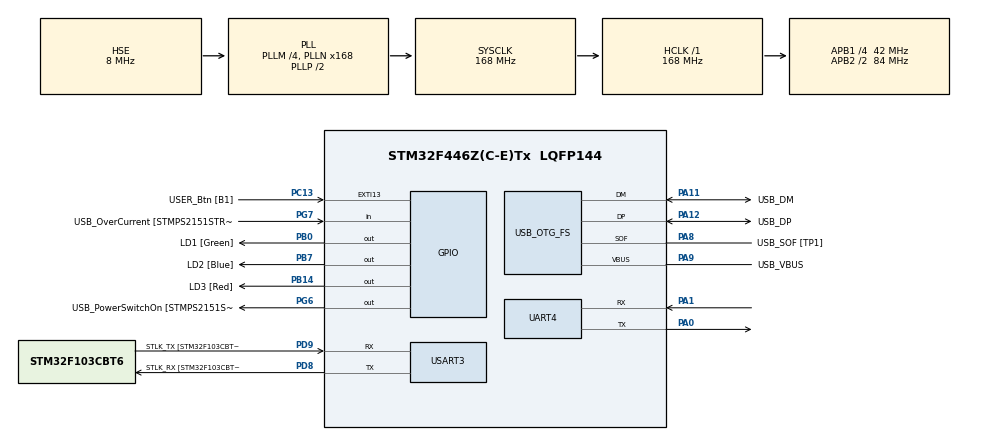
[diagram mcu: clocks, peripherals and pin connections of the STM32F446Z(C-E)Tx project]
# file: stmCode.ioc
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Mcu.Family=STM32F4
Mcu.Name=STM32F446Z(C-E)Tx
Mcu.Package=LQFP144
NVIC.PriorityGroup=NVIC_PRIORITYGROUP_4
PA0-WKUP.Mode=Asynchronous
PA0-WKUP.Signal=UART4_TX
PA1.Mode=Asynchronous
PA1.Signal=UART4_RX
PA10.GPIO_Label=USB_ID
PA10.Signal=USB_OTG_FS_ID
PA11.GPIO_Label=USB_DM
PA11.Mode=Device_Only
PA11.Signal=USB_OTG_FS_DM
PA12.GPIO_Label=USB_DP
PA12.Mode=Device_Only
PA12.Signal=USB_OTG_FS_DP
PA13.GPIO_Label=TMS
PA13.Mode=Serial_Wire
PA13.Signal=SYS_JTMS-SWDIO
PA14.GPIO_Label=TCK
PA14.Mode=Serial_Wire
PA14.Signal=SYS_JTCK-SWCLK
PA8.GPIO_Label=USB_SOF [TP1]
PA8.Mode=Activate_SOF_FS
PA8.Signal=USB_OTG_FS_SOF
PA9.GPIO_Label=USB_VBUS
PA9.Mode=Activate_VBUS
PA9.Signal=USB_OTG_FS_VBUS
PB0.GPIO_Label=LD1 [Green]
PB0.Signal=GPIO_Output
PB14.GPIO_Label=LD3 [Red]
PB14.Signal=GPIO_Output
PB7.GPIO_Label=LD2 [Blue]
PB7.Signal=GPIO_Output
PC13.GPIO_Label=USER_Btn [B1]
PC13.Signal=GPXTI13
PC14-OSC32_IN.Mode=LSE-External-Oscillator
PC14-OSC32_IN.Signal=RCC_OSC32_IN
PC15-OSC32_OUT.Mode=LSE-External-Oscillator
PC15-OSC32_OUT.Signal=RCC_OSC32_OUT
PD8.GPIO_Label=STLK_RX [STM32F103CBT6_PA3]
PD8.Mode=Asynchronous
PD8.Signal=USART3_TX
PD9.GPIO_Label=STLK_TX [STM32F103CBT6_PA2]
PD9.Mode=Asynchronous
PD9.Signal=USART3_RX
PG6.GPIO_Label=USB_PowerSwitchOn [STMPS2151STR_EN]
PG6.Signal=GPIO_Output
PG7.GPIO_Label=USB_OverCurrent [STMPS2151STR_FAULT]
PG7.Signal=GPIO_Input
PH0-OSC_IN.GPIO_Label=MCO [STM32F103CBT6_PA8]
PH0-OSC_IN.Mode=HSE-External-Clock-Source
PH0-OSC_IN.Signal=RCC_OSC_IN
PH1-OSC_OUT.Mode=HSE-External-Clock-Source
PH1-OSC_OUT.Signal=RCC_OSC_OUT
ProjectManager.HeapSize=0x200
ProjectManager.StackSize=0x400
ProjectManager.TargetToolchain=STM32CubeIDE
RCC.48MHZClocksFreq_Value=24000000
RCC.AHBFreq_Value=168000000
RCC.APB1CLKDivider=RCC_HCLK_DIV4
RCC.APB1Freq_Value=42000000
RCC.APB1TimFreq_Value=84000000
RCC.APB2CLKDivider=RCC_HCLK_DIV2
RCC.APB2Freq_Value=84000000
RCC.APB2TimFreq_Value=168000000
RCC.CortexFreq_Value=168000000
RCC.HCLKFreq_Value=168000000
RCC.HSE_VALUE=8000000
RCC.HSI_VALUE=16000000
RCC.PLLM=4
RCC.PLLMUL=RCC_PLL_MUL9
RCC.PLLN=168
RCC.PLLQ=7
RCC.PRESCALERUSB=RCC_USBCLKSOURCE_PLL_DIV1_5
RCC.SYSCLKFreq_VALUE=168000000
RCC.SYSCLKSource=RCC_SYSCLKSOURCE_PLLCLK
RCC.SYSCLKSourceVirtual=RCC_SYSCLKSOURCE_PLLCLK
RCC.USBFreq_Value=48000000
RCC.VCOOutputFreq_Value=336000000
TIM1.AutoReloadPreload=TIM_AUTORELOAD_PRELOAD_ENABLE
TIM1.Period=65535
TIM1.Prescaler=41
UART4.VirtualMode=Asynchronous
USART3.VirtualMode=VM_ASYNC
USB_OTG_FS.VirtualMode=Device_Only
VP_TIM1_VS_ClockSourceINT.Mode=Internal
VP_TIM4_VS_ClockSourceINT.Mode=Internal
board=NUCLEO-F446ZE

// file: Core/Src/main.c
/* USER CODE BEGIN Header */
/**
  ******************************************************************************
  * @file           : main.c
  * @brief          : Main program body
  ******************************************************************************
  * @attention
  *
  * Copyright (c) 2023 STMicroelectronics.
  * All rights reserved.
  *
  * This software is licensed under terms that can be found in the LICENSE file
  * in the root directory of this software component.
  * If no LICENSE file comes with this software, it is provided AS-IS.
  *
  ******************************************************************************
  */
/* USER CODE END Header */
#include "main.h"

/* USER CODE BEGIN Includes */
#include "odrivestm32.cpp"
/* USER CODE END Includes */

TIM_HandleTypeDef htim1;
TIM_HandleTypeDef htim4;

UART_HandleTypeDef huart4;
UART_HandleTypeDef huart3;

PCD_HandleTypeDef hpcd_USB_OTG_FS;

void SystemClock_Config(void);
static void MX_GPIO_Init(void);
static void MX_USART3_UART_Init(void);
static void MX_USB_OTG_FS_PCD_Init(void);
static void MX_UART4_Init(void);
static void MX_TIM1_Init(void);
static void MX_TIM4_Init(void);

int main(void)
{

  /* MCU Configuration--------------------------------------------------------*/

  /* Reset of all peripherals, Initializes the Flash interface and the Systick. */
  HAL_Init();

  /* Configure the system clock */
  SystemClock_Config();

  /* Initialize all configured peripherals */
  MX_GPIO_Init();
  MX_USART3_UART_Init();
  MX_USB_OTG_FS_PCD_Init();
  MX_UART4_Init();
  MX_TIM1_Init();
  MX_TIM4_Init();
  /* USER CODE BEGIN 2 */

  HAL_TIM_Base_Start(&htim1);
  double velocity = 10.2;
  uint16_t timer_val;

//  while(1){
//	  bool at_highspeed = false;
//	  double linear = 0.7;
//	  double angular = 0.3;
//	  double pos_gain = 45;
//	  double vel_gain = 0.004;
//	  double vel_int_gain = 0.0066;
//	  update_PID_params(&huart4, &at_highspeed, linear, angular, pos_gain, vel_gain, vel_int_gain);
//
//	  HAL_Delay(100);
//
//  }
  	  run_state(&huart4, 0, 3, false, 1000);
//  Setup_vel_limit(&huart4, RPS_LIMIT);
  Setup_Cur_Lim(&huart4, 60.0);
  Setup_cpr(&huart4, 42.0);
  set_tuning_parameters(&huart4, AXIS0, 45.0, 0.0132556,  0.00662781);
  set_tuning_parameters(&huart4, AXIS1, 45.0, 0.0132556,  0.00662781);
  uint32_t current_time, prev_time;
  uint32_t pub_period = 100;
  int requested_state = AXIS_STATE_FULL_CALIBRATION_SEQUENCE;
  run_state(&huart4, AXIS0, requested_state, false, 1000);
  HAL_Delay(19000);
  SetVelocity(&huart4, AXIS0, 0);
  run_state(&huart4, AXIS1, requested_state, false, 1000);
  HAL_Delay(19000);
  SetVelocity(&huart4, AXIS1, 0);

  closed_looped_control(&huart4);

  /* USER CODE END 2 */

  /* Infinite loop */
  /* USER CODE BEGIN WHILE */
  while (1)
  {

	  current_time  = HAL_GetTick();
	  if(prev_time + pub_period >= current_time){
		  double left_vel_ = LEFT_POLARITY * GetVelocity(&huart4, AXIS0) / VEL_TO_RPS;
		  double right_vel_ = RIGHT_POLARITY * GetVelocity(&huart4, AXIS1) / VEL_TO_RPS;
		  double linear = (left_vel_ + right_vel) / 2.0;
		  double angular = (left_vel_ - right_vel)/ 2.0;

		  prev_time = current_time;

	  }

	  if(!wireless_stop){
		  	 double speed = left_vel*VEL_TO_RPS;
		  	 double nouse = GetPosition(&huart4, 0);
		  SetVelocity(&huart4, AXIS0, 10);
		  	  nouse = GetPosition(&huart4, 1);
		  SetVelocity(&huart4, AXIS1, 10);
		  //TODO:two values harcoded yet

	  }

	  //check wireless estop
	 //TODO: function for reading wireless estop

	  if(wireless_stop){
		  SetVelocity(&huart4, AXIS0, 0);
		  SetVelocity(&huart4, AXIS1, 0);
		  SetVelocity(&huart4, AXIS0, 0);
		  SetVelocity(&huart4, AXIS1, 0);
	  }

	  HAL_Delay(1);

    /* USER CODE END WHILE */

  }
}

void SystemClock_Config(void)
{
  RCC_OscInitTypeDef RCC_OscInitStruct = {0};
  RCC_ClkInitTypeDef RCC_ClkInitStruct = {0};

  /** Configure the main internal regulator output voltage
  */
  __HAL_RCC_PWR_CLK_ENABLE();
  __HAL_PWR_VOLTAGESCALING_CONFIG(PWR_REGULATOR_VOLTAGE_SCALE1);

  /** Initializes the RCC Oscillators according to the specified parameters
  * in the RCC_OscInitTypeDef structure.
  */
  RCC_OscInitStruct.OscillatorType = RCC_OSCILLATORTYPE_HSE;
  RCC_OscInitStruct.HSEState = RCC_HSE_BYPASS;
  RCC_OscInitStruct.PLL.PLLState = RCC_PLL_ON;
  RCC_OscInitStruct.PLL.PLLSource = RCC_PLLSOURCE_HSE;
  RCC_OscInitStruct.PLL.PLLM = 4;
  RCC_OscInitStruct.PLL.PLLN = 168;
  RCC_OscInitStruct.PLL.PLLP = RCC_PLLP_DIV2;
  RCC_OscInitStruct.PLL.PLLQ = 7;
  RCC_OscInitStruct.PLL.PLLR = 2;
  if (HAL_RCC_OscConfig(&RCC_OscInitStruct) != HAL_OK)
  {
    Error_Handler();
  }

  /** Initializes the CPU, AHB and APB buses clocks
  */
  RCC_ClkInitStruct.ClockType = RCC_CLOCKTYPE_HCLK|RCC_CLOCKTYPE_SYSCLK
                              |RCC_CLOCKTYPE_PCLK1|RCC_CLOCKTYPE_PCLK2;
  RCC_ClkInitStruct.SYSCLKSource = RCC_SYSCLKSOURCE_PLLCLK;
  RCC_ClkInitStruct.AHBCLKDivider = RCC_SYSCLK_DIV1;
  RCC_ClkInitStruct.APB1CLKDivider = RCC_HCLK_DIV4;
  RCC_ClkInitStruct.APB2CLKDivider = RCC_HCLK_DIV2;

  if (HAL_RCC_ClockConfig(&RCC_ClkInitStruct, FLASH_LATENCY_5) != HAL_OK)
  {
    Error_Handler();
  }
}

static void MX_TIM1_Init(void)
{

  TIM_ClockConfigTypeDef sClockSourceConfig = {0};
  TIM_MasterConfigTypeDef sMasterConfig = {0};

  htim1.Instance = TIM1;
  htim1.Init.Prescaler = 41;
  htim1.Init.CounterMode = TIM_COUNTERMODE_UP;
  htim1.Init.Period = 65535;
  htim1.Init.ClockDivision = TIM_CLOCKDIVISION_DIV1;
  htim1.Init.RepetitionCounter = 0;
  htim1.Init.AutoReloadPreload = TIM_AUTORELOAD_PRELOAD_ENABLE;
  if (HAL_TIM_Base_Init(&htim1) != HAL_OK)
  {
    Error_Handler();
  }
  sClockSourceConfig.ClockSource = TIM_CLOCKSOURCE_INTERNAL;
  if (HAL_TIM_ConfigClockSource(&htim1, &sClockSourceConfig) != HAL_OK)
  {
    Error_Handler();
  }
  sMasterConfig.MasterOutputTrigger = TIM_TRGO_RESET;
  sMasterConfig.MasterSlaveMode = TIM_MASTERSLAVEMODE_DISABLE;
  if (HAL_TIMEx_MasterConfigSynchronization(&htim1, &sMasterConfig) != HAL_OK)
  {
    Error_Handler();
  }

}

static void MX_TIM4_Init(void)
{

  TIM_ClockConfigTypeDef sClockSourceConfig = {0};
  TIM_MasterConfigTypeDef sMasterConfig = {0};

  htim4.Instance = TIM4;
  htim4.Init.Prescaler = 0;
  htim4.Init.CounterMode = TIM_COUNTERMODE_UP;
  htim4.Init.Period = 65535;
  htim4.Init.ClockDivision = TIM_CLOCKDIVISION_DIV1;
  htim4.Init.AutoReloadPreload = TIM_AUTORELOAD_PRELOAD_DISABLE;
  if (HAL_TIM_Base_Init(&htim4) != HAL_OK)
  {
    Error_Handler();
  }
  sClockSourceConfig.ClockSource = TIM_CLOCKSOURCE_INTERNAL;
  if (HAL_TIM_ConfigClockSource(&htim4, &sClockSourceConfig) != HAL_OK)
  {
    Error_Handler();
  }
  sMasterConfig.MasterOutputTrigger = TIM_TRGO_RESET;
  sMasterConfig.MasterSlaveMode = TIM_MASTERSLAVEMODE_DISABLE;
  if (HAL_TIMEx_MasterConfigSynchronization(&htim4, &sMasterConfig) != HAL_OK)
  {
    Error_Handler();
  }

}

static void MX_UART4_Init(void)
{

  huart4.Instance = UART4;
  huart4.Init.BaudRate = 115200;
  huart4.Init.WordLength = UART_WORDLENGTH_8B;
  huart4.Init.StopBits = UART_STOPBITS_1;
  huart4.Init.Parity = UART_PARITY_NONE;
  huart4.Init.Mode = UART_MODE_TX_RX;
  huart4.Init.HwFlowCtl = UART_HWCONTROL_NONE;
  huart4.Init.OverSampling = UART_OVERSAMPLING_16;
  if (HAL_UART_Init(&huart4) != HAL_OK)
  {
    Error_Handler();
  }

}

static void MX_USART3_UART_Init(void)
{

  huart3.Instance = USART3;
  huart3.Init.BaudRate = 115200;
  huart3.Init.WordLength = UART_WORDLENGTH_8B;
  huart3.Init.StopBits = UART_STOPBITS_1;
  huart3.Init.Parity = UART_PARITY_NONE;
  huart3.Init.Mode = UART_MODE_TX_RX;
  huart3.Init.HwFlowCtl = UART_HWCONTROL_NONE;
  huart3.Init.OverSampling = UART_OVERSAMPLING_16;
  if (HAL_UART_Init(&huart3) != HAL_OK)
  {
    Error_Handler();
  }

}

static void MX_USB_OTG_FS_PCD_Init(void)
{

  hpcd_USB_OTG_FS.Instance = USB_OTG_FS;
  hpcd_USB_OTG_FS.Init.dev_endpoints = 6;
  hpcd_USB_OTG_FS.Init.speed = PCD_SPEED_FULL;
  hpcd_USB_OTG_FS.Init.dma_enable = DISABLE;
  hpcd_USB_OTG_FS.Init.phy_itface = PCD_PHY_EMBEDDED;
  hpcd_USB_OTG_FS.Init.Sof_enable = ENABLE;
  hpcd_USB_OTG_FS.Init.low_power_enable = DISABLE;
  hpcd_USB_OTG_FS.Init.lpm_enable = DISABLE;
  hpcd_USB_OTG_FS.Init.vbus_sensing_enable = ENABLE;
  hpcd_USB_OTG_FS.Init.use_dedicated_ep1 = DISABLE;
  if (HAL_PCD_Init(&hpcd_USB_OTG_FS) != HAL_OK)
  {
    Error_Handler();
  }

}

static void MX_GPIO_Init(void)
{
  GPIO_InitTypeDef GPIO_InitStruct = {0};

  /* GPIO Ports Clock Enable */
  __HAL_RCC_GPIOC_CLK_ENABLE();
  __HAL_RCC_GPIOH_CLK_ENABLE();
  __HAL_RCC_GPIOA_CLK_ENABLE();
  __HAL_RCC_GPIOB_CLK_ENABLE();
  __HAL_RCC_GPIOD_CLK_ENABLE();
  __HAL_RCC_GPIOG_CLK_ENABLE();

  /*Configure GPIO pin Output Level */
  HAL_GPIO_WritePin(GPIOB, LD1_Pin|LD3_Pin|LD2_Pin, GPIO_PIN_RESET);

  /*Configure GPIO pin Output Level */
  HAL_GPIO_WritePin(USB_PowerSwitchOn_GPIO_Port, USB_PowerSwitchOn_Pin, GPIO_PIN_RESET);

  /*Configure GPIO pin : USER_Btn_Pin */
  GPIO_InitStruct.Pin = USER_Btn_Pin;
  GPIO_InitStruct.Mode = GPIO_MODE_IT_RISING;
  GPIO_InitStruct.Pull = GPIO_NOPULL;
  HAL_GPIO_Init(USER_Btn_GPIO_Port, &GPIO_InitStruct);

  /*Configure GPIO pins : LD1_Pin LD3_Pin LD2_Pin */
  GPIO_InitStruct.Pin = LD1_Pin|LD3_Pin|LD2_Pin;
  GPIO_InitStruct.Mode = GPIO_MODE_OUTPUT_PP;
  GPIO_InitStruct.Pull = GPIO_NOPULL;
  GPIO_InitStruct.Speed = GPIO_SPEED_FREQ_LOW;
  HAL_GPIO_Init(GPIOB, &GPIO_InitStruct);

  /*Configure GPIO pin : USB_PowerSwitchOn_Pin */
  GPIO_InitStruct.Pin = USB_PowerSwitchOn_Pin;
  GPIO_InitStruct.Mode = GPIO_MODE_OUTPUT_PP;
  GPIO_InitStruct.Pull = GPIO_NOPULL;
  GPIO_InitStruct.Speed = GPIO_SPEED_FREQ_LOW;
  HAL_GPIO_Init(USB_PowerSwitchOn_GPIO_Port, &GPIO_InitStruct);

  /*Configure GPIO pin : USB_OverCurrent_Pin */
  GPIO_InitStruct.Pin = USB_OverCurrent_Pin;
  GPIO_InitStruct.Mode = GPIO_MODE_INPUT;
  GPIO_InitStruct.Pull = GPIO_NOPULL;
  HAL_GPIO_Init(USB_OverCurrent_GPIO_Port, &GPIO_InitStruct);

}

void Error_Handler(void)
{
  __disable_irq();
  while (1)
  {
  }
}
